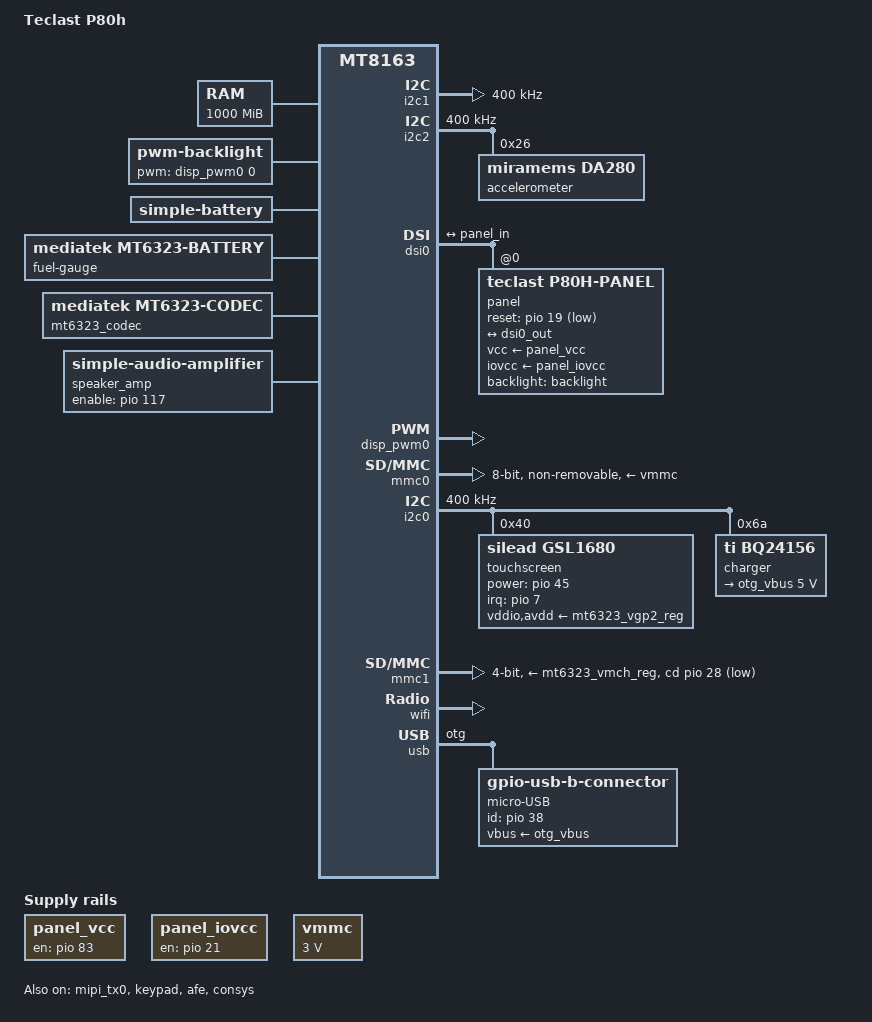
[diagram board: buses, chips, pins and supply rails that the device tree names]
// SPDX-License-Identifier: GPL-2.0
/dts-v1/;
#include <dt-bindings/gpio/gpio.h>
#include <dt-bindings/input/input.h>
#include <dt-bindings/interrupt-controller/irq.h>
#include "mt8163.dtsi"

/ {
	model = "Teclast P80h";
	compatible = "teclast,p80h", "mediatek,mt8163";

	/* eMMC is mmcblk0 whatever probes first (the SD host does now; tools and the stock layout expect mmcblk0) */
	aliases {
		mmc0 = &mmc0;
		mmc1 = &mmc1;
	};

	chosen {
		bootargs = "console=tty0 clk_ignore_unused pd_ignore_unused panic=10 initcall_debug ignore_loglevel";
		#address-cells = <2>;
		#size-cells = <2>;
		ranges;

	};

	memory@40000000 {
		device_type = "memory";
		reg = <0 0x40000000 0 0x3e800000>;
	};

	reserved-memory {
		#address-cells = <2>;
		#size-cells = <2>;
		ranges;

		atf@43000000 { reg = <0 0x43000000 0 0x30000>; no-map; };
		/* CONSYS firmware + EMI share memory (stock consys-reserve-memory: 2 MB, 2 MB aligned) */
		consys_mem: consys@7e000000 { reg = <0 0x7e000000 0 0x200000>; no-map; };
		/* the stock ram_console window: LK keeps it across watchdog resets, so pstore survives a crashed boot */
		ramoops@43f00000 {
			compatible = "ramoops";
			reg = <0 0x43f00000 0 0x10000>;
			record-size = <0x2000>;
			console-size = <0xe000>;
			no-map;
		};
	};
};

/* placeholder: no PMIC driver yet and the bootloader left the eMMC rail on. The core derives the host OCR mask
 * from this regulator and the card only advertises 2.7-3.1 V. */
&{/} {
	vmmc: regulator-vmmc {
		compatible = "regulator-fixed";
		regulator-name = "vmmc";
		regulator-min-microvolt = <3000000>;
		regulator-max-microvolt = <3000000>;
		regulator-always-on;
	};
};

&pio {
	/* pinmux cell = (pin << 8) | function, as in the vendor tree; pulls as the vendor board file sets them */
	mmc0_pins: mmc0 {
		pins-cmd-dat {
			pinmux = <0x8901>, <0x8801>, <0x8701>, <0x8601>, <0x8201>, <0x8101>, <0x8001>, <0x7f01>, <0x8401>;
			input-enable;
			bias-pull-up;
		};
		pins-clk {
			pinmux = <0x8501>;
			bias-pull-down;
		};
	};
};

&pio {
	i2c0_pins: i2c0 {
		pins {
			pinmux = <0x4b01>, <0x4c01>;
			bias-disable;
		};
	};
};

&pio {
	pwm_pins: pwm {
		pins {
			pinmux = <0x3b01>;	/* GPIO59 = DISP_PWM */
		};
	};
	keypad_pins: keypad {
		pins-row {
			pinmux = <0x2101>;	/* GPIO33 = KPROW0 (driven by the scanner) */
		};
		pins-col {
			pinmux = <0x2401>;	/* GPIO36 = KPCOL0 */
			input-enable;
			bias-pull-up;
		};
	};
	touch_pins: touch {
		pins-int {
			pinmux = <0x1d00>;	/* GPIO29, GPIO mode */
			input-enable;
			bias-pull-up;
		};
	};
	i2c1_pins: i2c1 {
		pins {
			pinmux = <0x3901>, <0x3a01>;	/* GPIO57/58 = SDA1/SCL1 */
			bias-disable;
		};
	};
	i2c2_pins: i2c2 {
		pins {
			pinmux = <0x4d01>, <0x4e01>;	/* GPIO77/78 = SDA2/SCL2 */
			bias-disable;
		};
	};
};

/* SY8827 buck at 0x60 (stock sym827_init); no node yet: it likely feeds VPROC, so nothing may touch it before it is understood */
&i2c1 {
	pinctrl-names = "default";
	pinctrl-0 = <&i2c1_pins>;
	clock-frequency = <400000>;
	status = "okay";
};

&i2c2 {
	pinctrl-names = "default";
	pinctrl-0 = <&i2c2_pins>;
	clock-frequency = <400000>;
	status = "okay";

	/*
	 * MIR3DA (stock mir3da_init, ITEMS accelerometer.i2c = 2). ITEMS orientation 7 = stock
	 * hwmsen map {-1,-1,-1}/{1,0,2}: x = -y_raw, y = -x_raw, z = -z_raw.
	 */
	accelerometer@26 {
		compatible = "miramems,da280";
		reg = <0x26>;
		mount-matrix = "0", "-1", "0",
			       "-1", "0", "0",
			       "0", "0", "-1";
	};
};

/*
 * Panel C805 ZS HX8394-A01 (ITEMS LCM). Stock lcd_power_en drives GPIO83 and GPIO21 high (then 50 ms),
 * lcd_reset drives GPIO19; both rails are plain GPIO switches.
 */
/ {
	/* reboot reasons for LK in MT6323 RTC_PDN1, values from the stock hal_rtc_mark_mode() */
	reboot-mode {
		compatible = "teclast,p80h-reboot-mode";
		mediatek,pmic = <&pmic>;
		mode-recovery = <0x10>;
		mode-bootloader = <0x2000>;
		mode-fastboot = <0x2000>;
	};

	panel_vcc: regulator-panel-vcc {
		compatible = "regulator-fixed";
		regulator-name = "panel_vcc";
		gpio = <&pio 83 GPIO_ACTIVE_HIGH>;
		enable-active-high;
		regulator-boot-on;
	};

	panel_iovcc: regulator-panel-iovcc {
		compatible = "regulator-fixed";
		regulator-name = "panel_iovcc";
		gpio = <&pio 21 GPIO_ACTIVE_HIGH>;
		enable-active-high;
		regulator-boot-on;
		startup-delay-us = <50000>;
	};
};

&mipi_tx0 {
	status = "okay";
};

&dsi0 {
	#address-cells = <1>;
	#size-cells = <0>;
	status = "okay";

	panel@0 {
		compatible = "teclast,p80h-panel";
		reg = <0>;
		reset-gpios = <&pio 19 GPIO_ACTIVE_LOW>;
		vcc-supply = <&panel_vcc>;
		iovcc-supply = <&panel_iovcc>;
		backlight = <&backlight>;	/* DPMS off / blanking also switches the backlight off */

		port {
			panel_in: endpoint {
				remote-endpoint = <&dsi0_out>;
			};
		};
	};

	port {	/* mtk_dsi looks up its sink at port 0, endpoint 0 */
		dsi0_out: endpoint {
			remote-endpoint = <&panel_in>;
		};
	};
};

&disp_pwm0 {
	pinctrl-names = "default";
	pinctrl-0 = <&pwm_pins>;
	status = "okay";
};

/ {
	backlight: backlight {
		compatible = "pwm-backlight";
		pwms = <&disp_pwm0 0 50000>;
		brightness-levels = <0 255>;
		num-interpolated-steps = <256>;
		default-brightness-level = <40>;	/* dim by default: charging and reading in the dark */
	};
};

/* Volume up = matrix code 0 (stock kpd_keymap[0] = KEY_VOLUMEUP); LK runs the 3x3 matrix (KP_SEL 0x1c70) */
&keypad {
	pinctrl-names = "default";
	pinctrl-0 = <&keypad_pins>;
	keypad,num-rows = <3>;
	keypad,num-columns = <3>;
	debounce-delay-ms = <32>;
	linux,keymap = <MATRIX_KEY(0, 0, KEY_VOLUMEUP)>;
	status = "okay";
};

&mmc0 {
	vmmc-supply = <&vmmc>;
	bus-width = <8>;
	max-frequency = <50000000>;
	non-removable;
	pinctrl-names = "default", "state_uhs";
	pinctrl-0 = <&mmc0_pins>;
	pinctrl-1 = <&mmc0_pins>;
	cap-mmc-highspeed;
	no-sd;
	no-sdio;
	status = "okay";
};

&i2c0 {
	pinctrl-names = "default";
	pinctrl-0 = <&i2c0_pins>;
	clock-frequency = <400000>;
	status = "okay";

	/*
	 * Silead GSLx68x. Stock DT TOUCH_PANEL eint 7 falling, ITEMS defaults touchpanel.eint.pin 29 /
	 * reset.pin 45 (GPIO29 is EINT7); stock tpd_i2c_probe: RST low, VGP2 3.3 V, 100 ms, RST high,
	 * INT input pull-up, then mt_eint_registration.
	 */
	touchscreen@40 {
		compatible = "silead,gsl1680";
		reg = <0x40>;
		pinctrl-names = "default";
		pinctrl-0 = <&touch_pins>;
		interrupt-parent = <&pio>;
		interrupts = <7 IRQ_TYPE_EDGE_FALLING>;
		power-gpios = <&pio 45 GPIO_ACTIVE_HIGH>;
		/*
		 * The controller reports in its own landscape frame, about 1600 x 900 (measured, run 106:
		 * x 6..1591, y 13..892). Top-left of the portrait screen is raw (max, 0), bottom-right raw
		 * (0, max): invert raw X, then swap.
		 */
		touchscreen-size-x = <1600>;
		touchscreen-size-y = <900>;
		touchscreen-inverted-x;
		touchscreen-swapped-x-y;
		firmware-name = "gsl1680-teclast-p80h.fw";
		vddio-supply = <&mt6323_vgp2_reg>;
		avdd-supply = <&mt6323_vgp2_reg>;
		silead,max-fingers = <5>;
	};

	/*
	 * FAN5405 (stock fan5405_init: i2c_register_board_info bus 0, addr 0x6a; the
	 * vendor DT's bq24296@6b node is stale). Same register map as bq24156, which
	 * bq2415x detects from PN=0 at 0x6a. Limits from the stock register dump
	 * ([fan5405] 00=d0 01=78 02=8e 03=41 04=84 05=03 06=70), Rsense 68 mOhm per datasheet.
	 */
	charger: charger@6a {
		compatible = "ti,bq24156";
		reg = <0x6a>;
		ti,current-limit = <800>;	/* FAN5405 input limit: 100/500/800/none */
		ti,weak-battery-voltage = <3700>;
		ti,battery-regulation-voltage = <4200>;
		ti,charge-current = <1000>;	/* fast charge, 68 mohm sense */
		ti,termination-current = <250>;
		ti,resistor-sense = <68>;

		/* OTG VBUS = FAN5405 boost (stock mt_usb_set_vbus -> tbl_charger_otg_vbus: OPA_MODE) */
		otg_vbus: usb-otg-vbus {
			regulator-name = "usb-otg-vbus";
			regulator-min-microvolt = <5000000>;
			regulator-max-microvolt = <5000000>;
		};
	};
};

/*
 * Battery: 3000 mAh (stock Q_MAX, all temperatures), OCV profile from the stock fuel gauge (`p80h re battery`;
 * the stock kernel uses the same table at every temperature). Voltage from the MT6323 AUXADC BATSNS channel.
 */
/ {
	bat: battery {
		compatible = "simple-battery";
		device-chemistry = "lithium-ion";
		charge-full-design-microamp-hours = <3000000>;
		voltage-min-design-microvolt = <3500000>;
		voltage-max-design-microvolt = <4200000>;
		ocv-capacity-celsius = <25>;
		ocv-capacity-table-0 = <4320000 100 4190000 95 4102000 90 4052000 85 4014000 80 3980000 75 3946000 70
					3917000 65 3889000 60 3874000 55 3861000 50 3848000 45 3837000 40 3823000 35
					3811000 30 3800000 25 3786000 20 3765000 15 3729000 10 3665000 5 3571000 0>;
	};

	fuel-gauge {
		compatible = "mediatek,mt6323-battery";
		mediatek,pmic = <&pmic>;
		monitored-battery = <&bat>;
		power-supplies = <&charger>;
	};
};

/* micro-SD slot; the card rail (VMCH) is switched by the PMIC, so until that driver exists a fixed 3.0 V stands in */
&pio {
	mmc1_pins: mmc1 {
		pins-cmd-dat {
			pinmux = <0x7b01>, <0x7c01>, <0x7d01>, <0x7e01>, <0x7901>;
			input-enable;
			bias-pull-up;
		};
		pins-clk {
			pinmux = <0x7a01>;
			bias-pull-down;
		};
		pins-insert {
			pinmux = <0x3100>;
			bias-pull-up;
		};
	};
};

&mmc1 {
	vmmc-supply = <&mt6323_vmch_reg>;
	vqmmc-supply = <&mt6323_vmc_reg>;
	bus-width = <4>;
	max-frequency = <50000000>;
	cap-sd-highspeed;
	/* ITEMS sd.dete.pin = 28, sd.dete.enit.num = 6 (GPIO28 is EINT6). Polarity not yet confirmed */
	cd-gpios = <&pio 28 GPIO_ACTIVE_LOW>;
	pinctrl-names = "default", "state_uhs";
	pinctrl-0 = <&mmc1_pins>;
	pinctrl-1 = <&mmc1_pins>;
	no-mmc;
	no-sdio;
	status = "okay";
};

/*
 * Audio: AFE ADDA link to the MT6323 codec over AUD_CLK/AUD_MISO/AUD_MOSI (stock DT audclk/audmiso/audmosi-gpio
 * 7/8/9, set to mode 1 by the stock EnableAfe). Internal class-D speaker (stock Speaker_ClassD_Open, the
 * extspkamp GPIO117 is not used on this board), headphone amp and the analog mic on ADC1/ADC2 (ACC mode).
 */
&pio {
	aud_pins: aud {
		pins {
			pinmux = <0x0701>, <0x0801>, <0x0901>;	/* GPIO7/8/9 = AUD_CLK_MOSI / AUD_DAT_MISO / AUD_DAT_MOSI */
		};
	};
};

&afe {
	pinctrl-names = "default";
	pinctrl-0 = <&aud_pins>;
	status = "okay";
};

/ {
	mt6323_codec: audio-codec {
		compatible = "mediatek,mt6323-codec";
		mediatek,pmic = <&pmic>;
		#sound-dai-cells = <0>;
	};

	/* external speaker amp fed from the MT6323 HP outputs (stock plays the speaker through the HP amp),
	 * enable = GPIO117 (stock DT extspkamp-gpio, Ext_Speaker_Amp_Set) */
	speaker_amp: audio-amplifier {
		compatible = "simple-audio-amplifier";
		enable-gpios = <&pio 117 GPIO_ACTIVE_HIGH>;
		sound-name-prefix = "Ext Amp";
	};

	sound {
		compatible = "simple-audio-card";
		simple-audio-card,name = "P80h";
		simple-audio-card,widgets = "Speaker", "Speaker", "Headphone", "Headphones", "Microphone", "Mic";
		simple-audio-card,routing = "Ext Amp INL", "HP", "Ext Amp INR", "HP",
					    "Speaker", "Ext Amp OUTL", "Speaker", "Ext Amp OUTR",
					    "Headphones", "HP", "MIC", "Mic";
		simple-audio-card,pin-switches = "Speaker", "Headphones";
		simple-audio-card,aux-devs = <&speaker_amp>;

		simple-audio-card,cpu {
			sound-dai = <&afe>;
		};
		simple-audio-card,codec {
			sound-dai = <&mt6323_codec>;
		};
	};
};

&consys {
	memory-region = <&consys_mem>;
	vcn18-supply = <&mt6323_vcn18_reg>;
	vcn28-supply = <&mt6323_vcn28_reg>;
	vcn33_bt-supply = <&mt6323_vcn33_bt_reg>;
	vcn33_wifi-supply = <&mt6323_vcn33_wifi_reg>;
	mediatek,pwrap-regmap = <&pwrap>;
	status = "okay";
};

&wifi {
	status = "okay";
};

/*
 * USB OTG: ID on GPIO38 (KPCOL2 pad, EINT 49; stock mt_usb_otg_init: GPIO input, pull-up, iddig_gpio in the stock DT),
 * VBUS from the charger's boost. ID floating high = device role, so the PC link keeps working with a normal cable.
 */
&pio {
	usb_id_pins: usb-id {
		pins-id {
			pinmux = <0x2600>;	/* GPIO38, GPIO mode */
			input-enable;
			bias-pull-up;
		};
	};
};

&usb {
	dr_mode = "otg";
	usb-role-switch;
	pinctrl-names = "default";
	pinctrl-0 = <&usb_id_pins>;

	connector {
		compatible = "gpio-usb-b-connector", "usb-b-connector";
		label = "micro-USB";
		type = "micro";
		id-gpios = <&pio 38 GPIO_ACTIVE_HIGH>;
		vbus-supply = <&otg_vbus>;
	};
};
